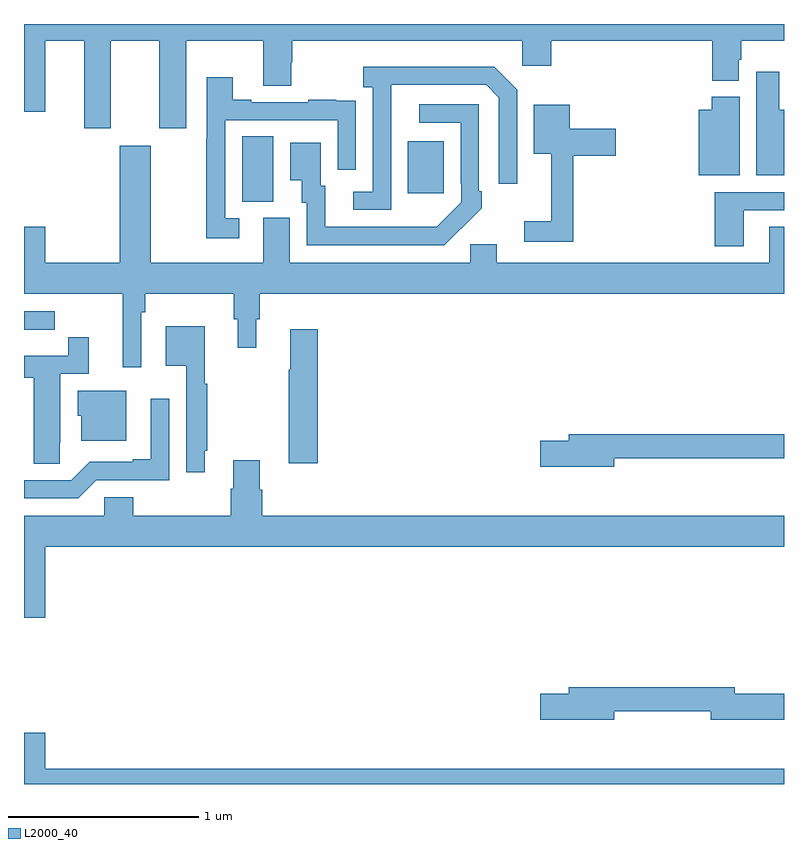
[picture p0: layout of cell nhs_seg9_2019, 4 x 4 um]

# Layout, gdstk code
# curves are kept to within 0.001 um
import gdstk
lib = gdstk.Library(unit=1e-6, precision=1e-09)
def R(c, l, rs):  # rectangles x0, y0, x1, y1
    for r in rs: c.add(gdstk.rectangle(r[:2], r[2:], *l))
def P(c, l, *ps):  # polygons
    for p in ps: c.add(gdstk.Polygon(p, *l))
L2000_40 = (2000, 40)

nhs_seg9_2019 = lib.new_cell('nhs_seg9_2019')
R(nhs_seg9_2019, L2000_40, [(226.148,1203.565,226.312,1203.908), (227.021,1203.609,227.209,1203.883)])
P(nhs_seg9_2019, L2000_40, [(225.457,1204.412),(225.713,1204.412),(225.713,1203.951),(225.853,1203.951),(225.853,1204.412),(226.259,1204.412),(226.259,1204.174),(226.407,1204.174),(226.407,1204.299),(226.412,1204.299),(226.412,1204.412),(227.622,1204.412),(227.622,1204.281),(227.774,1204.281),(227.774,1204.412),(228.623,1204.412),(228.623,1204.201),(228.763,1204.201),(228.763,1204.311),(228.776,1204.311),(228.776,1204.412),(229,1204.412),(229,1204.5),(225,1204.5),(225,1204.038),(225.112,1204.038),(225.112,1204.412),(225.317,1204.412),(225.317,1203.951),(225.457,1203.951)],
  [(226.932,1203.979),(226.933,1204.179),(227.433,1204.179),(227.499,1204.113),(227.499,1203.66),(227.595,1203.66),(227.595,1204.155),(227.474,1204.276),(226.785,1204.276),(226.785,1204.166),(226.836,1204.166),(226.836,1203.618),(226.734,1203.618),(226.734,1203.522),(226.932,1203.522)],
  [(229,1204.048),(228.976,1204.048),(228.976,1204.249),(228.854,1204.249),(228.854,1203.704),(229,1203.704)],
  [(226.132,1203.477),(226.059,1203.477),(226.059,1203.993),(226.65,1203.993),(226.65,1203.732),(226.746,1203.732),(226.746,1203.986),(226.745,1203.986),(226.745,1204.095),(226.643,1204.095),(226.643,1204.102),(226.495,1204.102),(226.495,1204.089),(226.195,1204.089),(226.195,1204.102),(226.099,1204.102),(226.099,1204.219),(225.963,1204.219),(225.963,1203.896),(225.958,1203.896),(225.958,1203.372),(226.132,1203.372)],
  [(228.766,1204.116),(228.62,1204.116),(228.62,1204.048),(228.551,1204.048),(228.551,1203.704),(228.766,1203.704)],
  [(227.303,1203.427),(227.304,1203.426),(227.409,1203.531),(227.409,1203.619),(227.394,1203.619),(227.394,1204.077),(227.079,1204.077),(227.079,1203.981),(227.298,1203.981),(227.298,1203.661),(227.301,1203.661),(227.301,1203.561),(227.173,1203.433),(226.585,1203.432),(226.585,1203.648),(226.561,1203.648),(226.561,1203.874),(226.4,1203.874),(226.4,1203.677),(226.463,1203.677),(226.463,1203.558),(226.488,1203.558),(226.488,1203.336),(227.212,1203.336)],
  [(227.891,1203.806),(228.115,1203.806),(228.115,1203.948),(227.872,1203.948),(227.872,1204.075),(227.684,1204.075),(227.684,1203.818),(227.774,1203.818),(227.774,1203.463),(227.634,1203.463),(227.634,1203.354),(227.891,1203.354)],
  [(225.618,1202.984),(225.638,1202.984),(225.638,1203.08),(226.105,1203.08),(226.105,1202.946),(226.124,1202.946),(226.124,1202.796),(226.222,1202.796),(226.222,1202.946),(226.241,1202.946),(226.241,1203.08),(229,1203.08),(229,1203.434),(228.923,1203.434),(228.923,1203.244),(227.488,1203.244),(227.488,1203.342),(227.349,1203.342),(227.349,1203.244),(226.399,1203.244),(226.399,1203.48),(226.259,1203.48),(226.259,1203.244),(225.667,1203.244),(225.667,1203.859),(225.503,1203.859),(225.503,1203.244),(225.112,1203.244),(225.112,1203.433),(225,1203.433),(225,1203.08),(225.521,1203.08),(225.521,1202.694),(225.618,1202.694)],
  [(228.787,1203.519),(229,1203.519),(229,1203.615),(228.635,1203.615),(228.635,1203.33),(228.787,1203.33)],
  [(225.05,1202.892),(225.163,1202.892),(225.163,1202.988),(225,1202.988),(225,1202.891),(225.05,1202.891)],
  [(225.952,1202.254),(225.964,1202.254),(225.964,1202.606),(225.952,1202.606),(225.952,1202.908),(225.746,1202.908),(225.746,1202.702),(225.855,1202.702),(225.855,1202.142),(225.952,1202.142)],
  [(226.547,1202.893),(226.4,1202.893),(226.4,1202.68),(226.393,1202.68),(226.393,1202.187),(226.547,1202.187)],
  [(225.189,1202.296),(225.19,1202.296),(225.19,1202.658),(225.341,1202.658),(225.341,1202.851),(225.232,1202.851),(225.232,1202.754),(225,1202.754),(225,1202.638),(225.05,1202.638),(225.05,1202.185),(225.189,1202.185)],
  [(225.538,1202.569),(225.284,1202.569),(225.284,1202.439),(225.302,1202.439),(225.302,1202.306),(225.538,1202.306)],
  [(225.381,1202.1),(225.765,1202.1),(225.765,1202.527),(225.668,1202.527),(225.668,1202.209),(225.572,1202.209),(225.572,1202.196),(225.345,1202.196),(225.249,1202.1),(225,1202.1),(225,1202.004),(225.285,1202.004)],
  [(228.106,1202.214),(229,1202.214),(229,1202.342),(227.867,1202.342),(227.867,1202.306),(227.718,1202.306),(227.718,1202.171),(228.106,1202.171)],
  [(225.112,1201.748),(229,1201.748),(229,1201.912),(226.253,1201.912),(226.253,1202.049),(226.24,1202.049),(226.24,1202.203),(226.1,1202.203),(226.1,1202.054),(226.088,1202.054),(226.088,1201.912),(225.575,1201.912),(225.575,1202.01),(225.423,1202.01),(225.423,1201.912),(225,1201.912),(225,1201.374),(225.112,1201.374)],
  [(228.106,1200.882),(228.614,1200.882),(228.614,1200.839),(229,1200.839),(229,1200.974),(228.742,1200.974),(228.742,1201.01),(227.867,1201.01),(227.867,1200.974),(227.718,1200.974),(227.718,1200.839),(228.106,1200.839)],
  [(229,1200.58),(225.112,1200.58),(225.112,1200.769),(225,1200.769),(225,1200.5),(229,1200.5)])

lib.write_gds('nhs_seg9_2019.gds')
